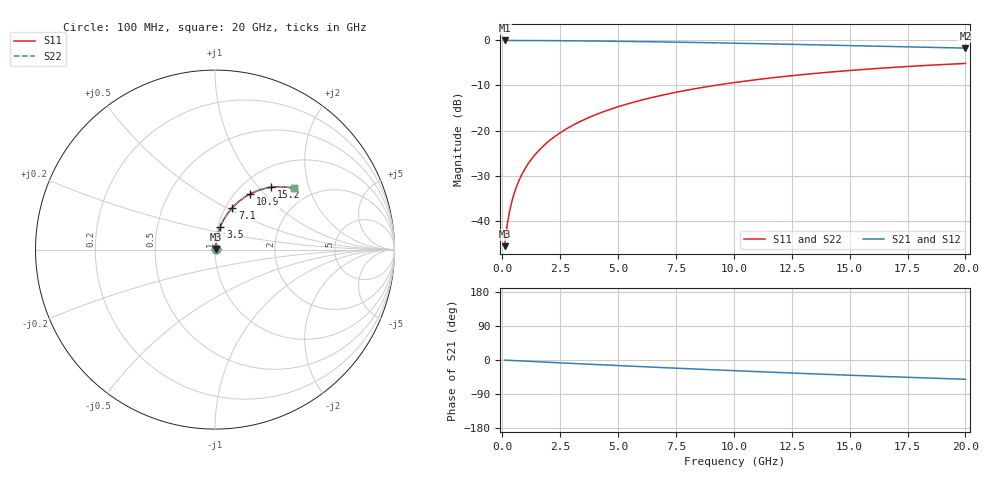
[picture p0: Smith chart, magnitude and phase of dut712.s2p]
! Touchstone file exported from HFSS 2026.1.0
!  File:  C:/ffzhzh/LocalFiles/Ansys_Project_Files/temp_train_BSMRDL_712_1783168211_51560.aedt
!  Generated:  08:31:38 PM Jul  4, 2026
!  Design:  BSMRDL
!  Project:  temp_train_BSMRDL_712_1783168211_51560
! Variables:
!  h_bsmrdl = 5.17um
!  h_ox = 20um
!  h_rdl = 5um
!  h_sub = 80um
!  h_tmrdl = 5um
!  h_tsv = 80um
!  h_via = 3um
!  l_bsmrdl = 691.2um
!  l_sub = 1091.2um
!  l_tmrdl = 200um
!  m_sub = 200um
!  pitch = 59.12um
!  r_tsv = 6um
!  s_tmrdl = 10um
!  w_bsmrdl = 13.87um
!  w_sub = 500um
!  w_tmrdl = 12um
!  x_tsv_center1 = 206um
!  x_tsv_center2 = 911.07um
!  x_tsv_center3 = 1123.07um
!  x_tsv_center4 = 1828.14um
!  x_tsv_center5 = 2040.14um
!  x_tsv_center6 = 2745.21um
# GHz S MA R 50.000000
! Terminal data exported
! Port[1] = BSM_RDL1_1_T1
! Port[2] = BSM_RDL1_1_T2
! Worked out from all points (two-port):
!   200 points, 100 MHz to 20 GHz, reference 50 ohm
!   highest |S21| = -0.03 dB at 100 MHz (marker M1); lowest = -1.7 dB at 20 GHz (marker M2)
!   |S21| within 3 dB of the highest: start of sweep to end of sweep
!   lowest |S11| = -45.6 dB at 100 MHz (marker M3), VSWR 1.01, Z = 50.3 + j0.396 ohm
!   |S11| at or under -10 dB: start of sweep to 9.168 GHz
!   |S22| runs from -45.6 to -5.1 dB; largest |S21 - S12| = 2.4e-14
!   S11 on the Smith chart (normalised r, x): 100 MHz: 1.01, +0.01; 3.5 GHz: 1.03, +0.27; 7.1 GHz: 1.08, +0.54; 10.9 GHz: 1.16, +0.83; 15.2 GHz: 1.32, +1.17; 20 GHz: 1.60, +1.58
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0.1  0.005253 48.4  0.9965 -0.3  0.9965 -0.3  0.005253 48.4
! Gamma 0 0 0 0
! Port Impedance 50 0 50 0
0.2  0.008617 65.1  0.9964 -0.6  0.9964 -0.6  0.008617 65.1
0.3  0.01226 71.8  0.9963 -0.9  0.9963 -0.9  0.01226 71.8
0.4  0.01598 75.3  0.9962 -1.2  0.9962 -1.2  0.01598 75.3
0.5  0.01971 77.4  0.996 -1.5  0.996 -1.5  0.01971 77.4
0.7  0.02722 79.6  0.9957 -2.1  0.9957 -2.1  0.02722 79.6
1  0.03852 80.9  0.9952 -3.0  0.9952 -3.0  0.03852 80.9
1.4  0.05359 81.2  0.9943 -4.2  0.9943 -4.2  0.05359 81.2
2  0.07608 80.4  0.9924 -6.0  0.9924 -6.0  0.07608 80.4
2.7  0.102 79.0  0.9895 -8.1  0.9895 -8.1  0.102 78.9
3.5  0.1311 77.0  0.9854 -10.4  0.9854 -10.4  0.1311 77.0
4.2  0.156 75.1  0.9811 -12.4  0.9811 -12.4  0.156 75.1
5  0.1837 73.0  0.9756 -14.7  0.9756 -14.7  0.1838 73.0
6.8  0.2436 68.2  0.9611 -19.7  0.9611 -19.7  0.2436 68.2
7.1  0.2532 67.4  0.9585 -20.5  0.9585 -20.5  0.2532 67.4
8.5  0.2965 63.8  0.9453 -24.3  0.9453 -24.3  0.2965 63.8
10.1  0.3428 59.8  0.929 -28.4  0.929 -28.4  0.3428 59.8
10.9  0.3647 57.9  0.9204 -30.5  0.9204 -30.5  0.3647 57.8
13.4  0.4276 52.0  0.8926 -36.5  0.8926 -36.5  0.4276 51.9
15.2  0.4677 47.9  0.8722 -40.7  0.8722 -40.7  0.4677 47.9
16.7  0.4979 44.7  0.8554 -44.0  0.8554 -44.0  0.4979 44.6
20  0.555 38.0  0.8199 -50.8  0.8199 -50.8  0.555 37.9
